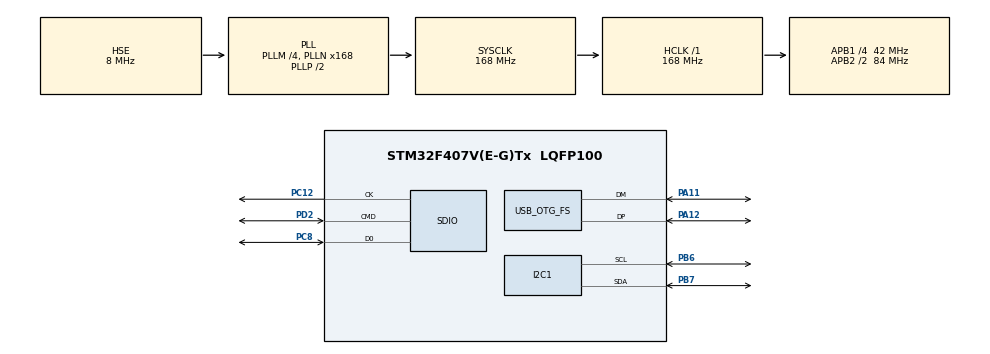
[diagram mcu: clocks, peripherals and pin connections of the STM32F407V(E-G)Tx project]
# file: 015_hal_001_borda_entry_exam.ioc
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Dma.Request0=SDIO_RX
Dma.Request1=SDIO_TX
Dma.SDIO_RX.0.Direction=DMA_PERIPH_TO_MEMORY
Dma.SDIO_RX.0.FIFOMode=DMA_FIFOMODE_ENABLE
Dma.SDIO_RX.0.FIFOThreshold=DMA_FIFO_THRESHOLD_FULL
Dma.SDIO_RX.0.Instance=DMA2_Stream3
Dma.SDIO_RX.0.MemBurst=DMA_MBURST_INC4
Dma.SDIO_RX.0.MemDataAlignment=DMA_MDATAALIGN_WORD
Dma.SDIO_RX.0.MemInc=DMA_MINC_ENABLE
Dma.SDIO_RX.0.Mode=DMA_PFCTRL
Dma.SDIO_RX.0.PeriphBurst=DMA_PBURST_INC4
Dma.SDIO_RX.0.PeriphDataAlignment=DMA_PDATAALIGN_WORD
Dma.SDIO_RX.0.PeriphInc=DMA_PINC_DISABLE
Dma.SDIO_RX.0.Priority=DMA_PRIORITY_LOW
Dma.SDIO_TX.1.Direction=DMA_MEMORY_TO_PERIPH
Dma.SDIO_TX.1.FIFOMode=DMA_FIFOMODE_ENABLE
Dma.SDIO_TX.1.FIFOThreshold=DMA_FIFO_THRESHOLD_FULL
Dma.SDIO_TX.1.Instance=DMA2_Stream6
Dma.SDIO_TX.1.MemBurst=DMA_MBURST_INC4
Dma.SDIO_TX.1.MemDataAlignment=DMA_MDATAALIGN_WORD
Dma.SDIO_TX.1.MemInc=DMA_MINC_ENABLE
Dma.SDIO_TX.1.Mode=DMA_PFCTRL
Dma.SDIO_TX.1.PeriphBurst=DMA_PBURST_INC4
Dma.SDIO_TX.1.PeriphDataAlignment=DMA_PDATAALIGN_WORD
Dma.SDIO_TX.1.PeriphInc=DMA_PINC_DISABLE
Dma.SDIO_TX.1.Priority=DMA_PRIORITY_LOW
FATFS.USE_DMA_CODE_SD=1
FATFS._MAX_SS=4096
FATFS._USE_STRFUNC=1
Mcu.Family=STM32F4
Mcu.Name=STM32F407V(E-G)Tx
Mcu.Package=LQFP100
NVIC.DMA2_Stream3_IRQn=true\:0\:0\:false\:false\:true\:false\:true\:true
NVIC.DMA2_Stream6_IRQn=true\:0\:0\:false\:false\:true\:false\:true\:true
NVIC.OTG_FS_IRQn=true\:0\:0\:false\:false\:true\:true\:true\:true
NVIC.PriorityGroup=NVIC_PRIORITYGROUP_4
NVIC.TIM2_IRQn=true\:0\:0\:false\:false\:true\:true\:true\:true
PA11.Mode=Device_Only
PA11.Signal=USB_OTG_FS_DM
PA12.Mode=Device_Only
PA12.Signal=USB_OTG_FS_DP
PA13.Mode=Serial_Wire
PA13.Signal=SYS_JTMS-SWDIO
PA14.Mode=Serial_Wire
PA14.Signal=SYS_JTCK-SWCLK
PB6.GPIO_Pu=GPIO_PULLUP
PB6.Mode=I2C
PB6.Signal=I2C1_SCL
PB7.GPIO_Pu=GPIO_PULLUP
PB7.Mode=I2C
PB7.Signal=I2C1_SDA
PC12.GPIO_PuPd=GPIO_NOPULL
PC12.Mode=SD_1_bit
PC12.Signal=SDIO_CK
PC8.GPIO_PuPd=GPIO_PULLUP
PC8.Mode=SD_1_bit
PC8.Signal=SDIO_D0
PD2.GPIO_PuPd=GPIO_PULLUP
PD2.Mode=SD_1_bit
PD2.Signal=SDIO_CMD
PH0-OSC_IN.Mode=HSE-External-Oscillator
PH0-OSC_IN.Signal=RCC_OSC_IN
PH1-OSC_OUT.Mode=HSE-External-Oscillator
PH1-OSC_OUT.Signal=RCC_OSC_OUT
ProjectManager.HeapSize=0x200
ProjectManager.StackSize=0x400
ProjectManager.TargetToolchain=STM32CubeIDE
RCC.48MHZClocksFreq_Value=48000000
RCC.AHBFreq_Value=168000000
RCC.APB1CLKDivider=RCC_HCLK_DIV4
RCC.APB1Freq_Value=42000000
RCC.APB1TimFreq_Value=84000000
RCC.APB2CLKDivider=RCC_HCLK_DIV2
RCC.APB2Freq_Value=84000000
RCC.APB2TimFreq_Value=168000000
RCC.CortexFreq_Value=168000000
RCC.HCLKFreq_Value=168000000
RCC.HSE_VALUE=8000000
RCC.HSI_VALUE=16000000
RCC.LSE_VALUE=32768
RCC.PLLM=4
RCC.PLLN=168
RCC.PLLQ=7
RCC.SYSCLKFreq_VALUE=168000000
RCC.SYSCLKSource=RCC_SYSCLKSOURCE_PLLCLK
RCC.VCOOutputFreq_Value=336000000
TIM2.Period=41999
TIM2.Prescaler=1999
USB_DEVICE.CLASS_NAME_FS=CDC
USB_DEVICE.VirtualMode-CDC_FS=Cdc
USB_DEVICE.VirtualModeFS=Cdc_FS
USB_OTG_FS.VirtualMode=Device_Only
VP_FATFS_VS_SDIO.Mode=SDIO
VP_TIM2_VS_ClockSourceINT.Mode=Internal
VP_USB_DEVICE_VS_USB_DEVICE_CDC_FS.Mode=CDC_FS
board=custom

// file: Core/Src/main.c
/* USER CODE BEGIN Header */
/**
  ******************************************************************************
  * @file           : main.c
  * @brief          : Main program body
  ******************************************************************************
  * @attention
  *
  * Copyright (c) 2023 STMicroelectronics.
  * All rights reserved.
  *
  * This software is licensed under terms that can be found in the LICENSE file
  * in the root directory of this software component.
  * If no LICENSE file comes with this software, it is provided AS-IS.
  *
  ******************************************************************************
  */
/* USER CODE END Header */
#include "main.h"
#include "fatfs.h"
#include "usb_device.h"

/* USER CODE BEGIN Includes */

#include "usbd_cdc_if.h"
#include "string.h"
#include "stdlib.h"
#include "stdio.h"

/* USER CODE END Includes */

I2C_HandleTypeDef hi2c1;
SD_HandleTypeDef hsd;
DMA_HandleTypeDef hdma_sdio_rx;
DMA_HandleTypeDef hdma_sdio_tx;
TIM_HandleTypeDef htim2;

/* USER CODE BEGIN PV */

// for sc_card
uint8_t *cdc;
uint8_t *DWSD = "Write sd ok";
char data[]="deneme sd_card with sdio";
FATFS Fatfs;
FIL fil;
FRESULT fr;
UINT br,bw;
FILINFO fno;

// for i2c AM2320
uint8_t data_humidity[2]={0};
uint8_t am2320_address = 0xB8;
uint8_t am2320_write_address=0x10;
uint8_t am2320_read_address=0x03;

// for i2c adxl345
/*
 I2C address of 0x53 (followed by the R/W bit) can be chosen by
grounding the SDO/ALT ADDRESS pin (Pin 12). This translates to
0xA6 for a write and 0xA7 for a read.
 */
#define ADXL345_I2C_SLAVE_ADDRESS 0xA6 // 0x53 << 1 ,due to the 7 bit address and 1 bit for read/write
uint8_t finding_slave_address_cnt=0;
uint8_t myDatas[6];
int16_t x,y,z;
float xG,yG,zG;

/* USER CODE END PV */

void SystemClock_Config(void);
static void MX_GPIO_Init(void);
static void MX_DMA_Init(void);
static void MX_I2C1_Init(void);
static void MX_SDIO_SD_Init(void);
static void MX_TIM2_Init(void);

/* USER CODE BEGIN 0 */

/////////////////////////////////////////////////////////////////////////////
// finding the i2c slave address
void findSlaveAddress(){
	for(finding_slave_address_cnt=0;finding_slave_address_cnt<=255;finding_slave_address_cnt++){
		if(HAL_OK == HAL_I2C_IsDeviceReady(&hi2c1, finding_slave_address_cnt, 1, 100)){
			break;
		}
	}
}

/////////////////////////////////////////////////////////////////////////////
void sd_card_start(){

	fr=f_mount(&Fatfs, "", 1);
	if(fr==FR_OK){
		cdc="Ok to mount\n";
		CDC_Transmit_FS(cdc, strlen(cdc));
	}else{
		cdc="Error to Mount\n";
		CDC_Transmit_FS(cdc, strlen(cdc));
	}

	fr=f_open(&fil, "deneme.txt", FA_CREATE_ALWAYS | FA_WRITE);
	if(fr==FR_OK){
		cdc="Ok to create or writefile\n";
		CDC_Transmit_FS(cdc, strlen(cdc));
	}else{
		cdc="Error to create or write file\n";
		CDC_Transmit_FS(cdc, strlen(cdc));
	}

	fr=f_stat("deneme.txt",&fno);
	if(fr==FR_OK){
		cdc="File is ready\n";
		CDC_Transmit_FS(cdc, strlen(cdc));
	}else{
		cdc="File is not ready\n";
		CDC_Transmit_FS(cdc, strlen(cdc));
	}
}

void sd_card_stop(){

	f_close(&fil);
	cdc="END of program\n";
	CDC_Transmit_FS(cdc, strlen(cdc));
	f_mount(&Fatfs, "", 0); // unmount yapıyor sd inactive ediyor diyebiliriz.
}

void sd_card_write(uint8_t data[]){
	f_puts((char*)(data),strlen(data));
}

///////////////////////////////////////////////////////////////////
void i2c1_AM2320_sensor(){
	HAL_I2C_Mem_Read(&hi2c1, am2320_address, am2320_read_address,1,data_humidity , 2, 1000);
	sd_card_start();
	sd_card_write(data_humidity);
	sd_card_stop();

}
/////////////////////////////////////////////////////////////////////

void ADXL345_Read(uint8_t rRegister,uint8_t numberOfBytes){

	HAL_I2C_Mem_Read(&hi2c1, ADXL345_I2C_SLAVE_ADDRESS | 0x01, rRegister, 1, myDatas, numberOfBytes , 100); // 100 ms ,1 byte rRegister uzunlugu

}

void ADXL345_Write(uint8_t wRegister,uint8_t value){
	uint8_t data[2]={0};
	data[0]=wRegister;
	data[1]=value;
	HAL_I2C_Master_Transmit(&hi2c1, ADXL345_I2C_SLAVE_ADDRESS, data, 1, 100);
	//HAL_I2C_Mem_Write(&hi2c1, ADXL345_I2C_SLAVE_ADDRESS, wRegister, 1, value, 2, 100); yukardaki ile aynı şey bence
}

void ADXL345_Init(){

	ADXL345_Read(0x00,1); // 0x00 registerindan 0xE5 okuyorsak demekki cihaz dogru calışıyordur
	ADXL345_Write(0x2D, 0); // reset all bits
	// Setup ->
	ADXL345_Write(0x2D,0x08); // measure bit 1,wake up bit 0,autosleep 0,sleep 0 and wakeup frequency 8 hz
	ADXL345_Write(0x31, 0x01); // +- 4g range
}

void i2c1_adxl345_sensor(){

	 ADXL345_Read(0x32, 6);
	  x = (myDatas[1] << 8 ) | myDatas[0];  // x values in myDatas[0] & myDatas[1]
	  y = (myDatas[3] << 8 ) | myDatas[2];  // y values in myDatas[2] & myDatas[3]
	  z = (myDatas[5] << 8 ) | myDatas[4];  // z values in myDatas[4] & myDatas[5]

	  xG =x*0.0087;
	  yG =y*0.0087;
	  zG =z*0.0087;
}

//////////////////////////////////////////////////////////////////////////////////////////////
void i2c1_bmp180_sensor(){

	 BMP180_Get_Temparature();
	 BMP180_Get_Pressure();

}

//////////////////////////////////////////////////////////////////////////////////////////////
// TIM2 : timer interrupt per second.
void HAL_TIM_PeriodElapsedCallback(TIM_HandleTypeDef *htim){
	// ......

	i2c1_AM2320_sensor(); // is done.
	i2c1_adxl345_sensor(); // not yet
	i2c1_bmp180_sensor(); // not yet

}

/* USER CODE END 0 */

int main(void)
{

  /* MCU Configuration--------------------------------------------------------*/

  /* Reset of all peripherals, Initializes the Flash interface and the Systick. */
  HAL_Init();

  /* USER CODE BEGIN Init */

  ADXL345_Init();
  BMP180_Init();

  /* USER CODE END Init */

  /* Configure the system clock */
  SystemClock_Config();

  /* Initialize all configured peripherals */
  MX_GPIO_Init();
  MX_DMA_Init();
  MX_I2C1_Init();
  MX_SDIO_SD_Init();
  MX_TIM2_Init();
  MX_FATFS_Init();
  MX_USB_DEVICE_Init();
  /* USER CODE BEGIN 2 */

  HAL_TIM_Base_Start_IT(&htim2); //TIM2 start init.

  /* USER CODE END 2 */

  /* Infinite loop */
  while (1)
  {

  }
}

void SystemClock_Config(void)
{
  RCC_OscInitTypeDef RCC_OscInitStruct = {0};
  RCC_ClkInitTypeDef RCC_ClkInitStruct = {0};

  /** Configure the main internal regulator output voltage
  */
  __HAL_RCC_PWR_CLK_ENABLE();
  __HAL_PWR_VOLTAGESCALING_CONFIG(PWR_REGULATOR_VOLTAGE_SCALE1);

  /** Initializes the RCC Oscillators according to the specified parameters
  * in the RCC_OscInitTypeDef structure.
  */
  RCC_OscInitStruct.OscillatorType = RCC_OSCILLATORTYPE_HSE;
  RCC_OscInitStruct.HSEState = RCC_HSE_ON;
  RCC_OscInitStruct.PLL.PLLState = RCC_PLL_ON;
  RCC_OscInitStruct.PLL.PLLSource = RCC_PLLSOURCE_HSE;
  RCC_OscInitStruct.PLL.PLLM = 4;
  RCC_OscInitStruct.PLL.PLLN = 168;
  RCC_OscInitStruct.PLL.PLLP = RCC_PLLP_DIV2;
  RCC_OscInitStruct.PLL.PLLQ = 7;
  if (HAL_RCC_OscConfig(&RCC_OscInitStruct) != HAL_OK)
  {
    Error_Handler();
  }

  /** Initializes the CPU, AHB and APB buses clocks
  */
  RCC_ClkInitStruct.ClockType = RCC_CLOCKTYPE_HCLK|RCC_CLOCKTYPE_SYSCLK
                              |RCC_CLOCKTYPE_PCLK1|RCC_CLOCKTYPE_PCLK2;
  RCC_ClkInitStruct.SYSCLKSource = RCC_SYSCLKSOURCE_PLLCLK;
  RCC_ClkInitStruct.AHBCLKDivider = RCC_SYSCLK_DIV1;
  RCC_ClkInitStruct.APB1CLKDivider = RCC_HCLK_DIV4;
  RCC_ClkInitStruct.APB2CLKDivider = RCC_HCLK_DIV2;

  if (HAL_RCC_ClockConfig(&RCC_ClkInitStruct, FLASH_LATENCY_5) != HAL_OK)
  {
    Error_Handler();
  }
}

static void MX_I2C1_Init(void)
{

  hi2c1.Instance = I2C1;
  hi2c1.Init.ClockSpeed = 100000;
  hi2c1.Init.DutyCycle = I2C_DUTYCYCLE_2;
  hi2c1.Init.OwnAddress1 = 0;
  hi2c1.Init.AddressingMode = I2C_ADDRESSINGMODE_7BIT;
  hi2c1.Init.DualAddressMode = I2C_DUALADDRESS_DISABLE;
  hi2c1.Init.OwnAddress2 = 0;
  hi2c1.Init.GeneralCallMode = I2C_GENERALCALL_DISABLE;
  hi2c1.Init.NoStretchMode = I2C_NOSTRETCH_DISABLE;
  if (HAL_I2C_Init(&hi2c1) != HAL_OK)
  {
    Error_Handler();
  }

}

static void MX_SDIO_SD_Init(void)
{

  hsd.Instance = SDIO;
  hsd.Init.ClockEdge = SDIO_CLOCK_EDGE_RISING;
  hsd.Init.ClockBypass = SDIO_CLOCK_BYPASS_DISABLE;
  hsd.Init.ClockPowerSave = SDIO_CLOCK_POWER_SAVE_DISABLE;
  hsd.Init.BusWide = SDIO_BUS_WIDE_1B;
  hsd.Init.HardwareFlowControl = SDIO_HARDWARE_FLOW_CONTROL_DISABLE;
  hsd.Init.ClockDiv = 0;

}

static void MX_TIM2_Init(void)
{

  TIM_ClockConfigTypeDef sClockSourceConfig = {0};
  TIM_MasterConfigTypeDef sMasterConfig = {0};

  htim2.Instance = TIM2;
  htim2.Init.Prescaler = 1999;
  htim2.Init.CounterMode = TIM_COUNTERMODE_UP;
  htim2.Init.Period = 41999;
  htim2.Init.ClockDivision = TIM_CLOCKDIVISION_DIV1;
  htim2.Init.AutoReloadPreload = TIM_AUTORELOAD_PRELOAD_DISABLE;
  if (HAL_TIM_Base_Init(&htim2) != HAL_OK)
  {
    Error_Handler();
  }
  sClockSourceConfig.ClockSource = TIM_CLOCKSOURCE_INTERNAL;
  if (HAL_TIM_ConfigClockSource(&htim2, &sClockSourceConfig) != HAL_OK)
  {
    Error_Handler();
  }
  sMasterConfig.MasterOutputTrigger = TIM_TRGO_RESET;
  sMasterConfig.MasterSlaveMode = TIM_MASTERSLAVEMODE_DISABLE;
  if (HAL_TIMEx_MasterConfigSynchronization(&htim2, &sMasterConfig) != HAL_OK)
  {
    Error_Handler();
  }

}

static void MX_DMA_Init(void)
{

  /* DMA controller clock enable */
  __HAL_RCC_DMA2_CLK_ENABLE();

  /* DMA interrupt init */
  /* DMA2_Stream3_IRQn interrupt configuration */
  HAL_NVIC_SetPriority(DMA2_Stream3_IRQn, 0, 0);
  HAL_NVIC_EnableIRQ(DMA2_Stream3_IRQn);
  /* DMA2_Stream6_IRQn interrupt configuration */
  HAL_NVIC_SetPriority(DMA2_Stream6_IRQn, 0, 0);
  HAL_NVIC_EnableIRQ(DMA2_Stream6_IRQn);

}

static void MX_GPIO_Init(void)
{

  /* GPIO Ports Clock Enable */
  __HAL_RCC_GPIOH_CLK_ENABLE();
  __HAL_RCC_GPIOC_CLK_ENABLE();
  __HAL_RCC_GPIOA_CLK_ENABLE();
  __HAL_RCC_GPIOD_CLK_ENABLE();
  __HAL_RCC_GPIOB_CLK_ENABLE();

}

void Error_Handler(void)
{
  __disable_irq();
  while (1)
  {
  }
}
